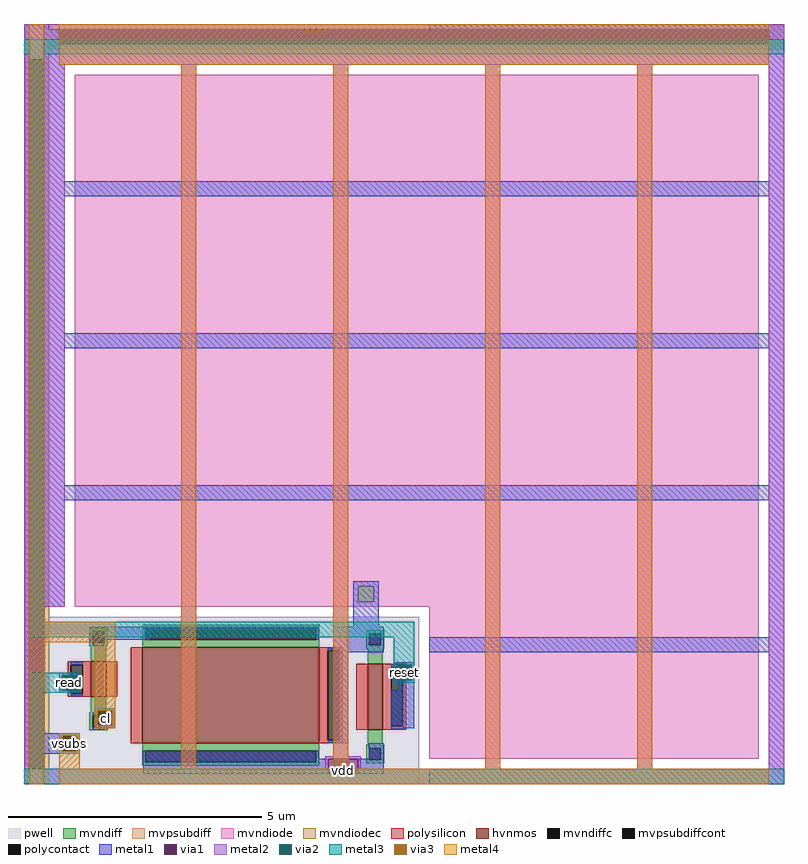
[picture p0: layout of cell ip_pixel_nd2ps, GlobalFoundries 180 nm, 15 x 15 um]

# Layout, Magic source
magic
tech gf180mcuD
magscale 1 5
<< pwell >>
rect 450 -890 1180 -670
rect 450 -910 520 -890
rect 560 -910 1180 -890
rect 450 -1000 1180 -910
<< metal1 >>
rect 400 490 450 500
rect 1200 490 1900 500
rect 400 480 950 490
rect 1000 480 1900 490
rect 400 420 1900 480
rect 400 190 480 420
rect 1870 190 1900 420
rect 400 160 1900 190
rect 400 -110 480 160
rect 1870 -110 1900 160
rect 400 -140 1900 -110
rect 400 -410 480 -140
rect 1870 -410 1900 -140
rect 400 -440 1900 -410
rect 400 -650 480 -440
rect 400 -900 440 -650
rect 1050 -690 1100 -600
rect 530 -695 980 -690
rect 530 -715 650 -695
rect 530 -720 555 -715
rect 1010 -740 1110 -690
rect 1870 -710 1900 -440
rect 1200 -740 1900 -710
rect 470 -785 510 -780
rect 470 -815 475 -785
rect 505 -815 510 -785
rect 470 -820 510 -815
rect 540 -855 580 -850
rect 540 -885 545 -855
rect 575 -885 580 -855
rect 540 -890 580 -885
rect 400 -905 510 -900
rect 400 -935 475 -905
rect 505 -935 510 -905
rect 1010 -920 1040 -740
rect 1130 -765 1170 -760
rect 1130 -795 1135 -765
rect 1165 -795 1170 -765
rect 1130 -800 1170 -795
rect 1140 -815 1170 -800
rect 1125 -890 1170 -815
rect 400 -940 510 -935
rect 400 -1000 440 -940
rect 635 -950 980 -935
rect 1080 -950 1110 -920
rect 635 -980 1000 -950
rect 1060 -980 1110 -950
rect 1870 -970 1900 -740
rect 1200 -1000 1900 -970
<< via1 >>
rect 475 -815 505 -785
rect 545 -885 575 -855
rect 475 -935 505 -905
rect 1135 -795 1165 -765
rect 1000 -980 1060 -950
<< metal2 >>
rect 400 420 1900 500
rect 400 -650 480 420
rect 400 -970 440 -650
rect 470 -785 510 -780
rect 470 -815 475 -785
rect 505 -815 510 -785
rect 470 -820 510 -815
rect 540 -855 580 -850
rect 540 -885 545 -855
rect 575 -885 580 -855
rect 540 -890 580 -885
rect 470 -905 510 -900
rect 470 -935 475 -905
rect 505 -935 510 -905
rect 470 -940 510 -935
rect 710 -970 740 420
rect 1010 -945 1040 420
rect 1130 -765 1170 -760
rect 1130 -795 1135 -765
rect 1165 -795 1170 -765
rect 1130 -800 1170 -795
rect 995 -950 1065 -945
rect 995 -970 1000 -950
rect 400 -980 1000 -970
rect 1060 -970 1065 -950
rect 1310 -970 1340 420
rect 1610 -970 1640 420
rect 1870 -970 1900 420
rect 1060 -980 1900 -970
rect 400 -1000 1900 -980
<< via2 >>
rect 475 -815 505 -785
rect 545 -885 575 -855
rect 475 -935 505 -905
rect 1135 -795 1165 -765
<< metal3 >>
rect 400 440 1900 470
rect 410 -680 440 440
rect 410 -710 1170 -680
rect 1130 -765 1170 -710
rect 410 -785 510 -780
rect 410 -815 475 -785
rect 505 -815 510 -785
rect 1130 -795 1135 -765
rect 1165 -795 1170 -765
rect 1130 -800 1170 -795
rect 410 -820 510 -815
rect 410 -970 440 -820
rect 540 -855 580 -850
rect 540 -885 545 -855
rect 575 -885 580 -855
rect 540 -890 580 -885
rect 470 -905 510 -900
rect 470 -935 475 -905
rect 505 -935 510 -905
rect 470 -940 510 -935
rect 400 -1000 1900 -970
<< via3 >>
rect 545 -885 575 -855
rect 475 -935 505 -905
<< metal4 >>
rect 410 -680 440 500
rect 470 420 1870 500
rect 410 -720 580 -680
rect 410 -1000 440 -720
rect 540 -855 580 -720
rect 540 -885 545 -855
rect 575 -885 580 -855
rect 540 -890 580 -885
rect 470 -905 510 -900
rect 470 -935 475 -905
rect 505 -935 510 -905
rect 470 -970 510 -935
rect 710 -970 740 420
rect 1010 -970 1040 420
rect 1310 -970 1340 420
rect 1610 -970 1640 420
rect 470 -1000 1870 -970
use diode_nd2ps_06v0_CUSTOM  D1
transform 1 0 1100 0 1 -100
box -700 -900 800 600
use nfet_06v0_569J58  M1
transform 0 1 1105 -1 0 -828
box -147 -65 147 65
use nfet_06v0_G9TRTN  M2
transform 0 1 820 -1 0 -825
box -155 -225 155 225
use nfet_06v0_XGQPTS  M3
transform 0 -1 535 1 0 -793
box -117 -65 117 65
<< labels >>
flabel metal3 470 -820 510 -780 0 FreeSans 160 0 0 0 read
port 7 nsew
flabel metal3 1130 -800 1170 -760 0 FreeSans 160 0 0 0 reset
port 8 nsew
flabel metal4 540 -890 580 -850 0 FreeSans 160 0 0 0 cl
port 6 nsew
flabel metal4 470 -940 510 -900 0 FreeSans 160 0 0 0 vsubs
port 9 nsew
flabel metal2 995 -1000 1065 -945 0 FreeSans 160 0 0 0 vdd
port 10 nsew
<< end >>

# cell diode_nd2ps_06v0_CUSTOM: kit device diode_nd2ps_06v0, w 13.5 l 13.5 area 161.25 peri 54.0 nx 1 ny 1 dummy 0 lmin 0.45 wmin 0.45 class diode elc 1 erc 1 etc 1 ebc 0 doverlap 0 full_metal 0 compatible {diode_nd2ps_03v3 diode_nd2ps_06v0}

# cell nfet_06v0_569J58: kit device nfet_06v0, w 0.3 l 1.3 m 1 nf 1 diffcov 100 polycov 100 guard 0 glc 0 grc 0 gtc 0 gbc 0 tbcov 100 rlcov 100 topc 1 botc 0 poverlap 0 doverlap 1 lmin 0.7 wmin 0.3 class mosfet full_metal 0 compatible {nfet_03v3 nfet_05v0 nfet_06v0 nfet_06v0_nvt}

# cell nfet_06v0_G9TRTN: kit device nfet_06v0, w 3.5 l 1.9 m 1 nf 1 diffcov 100 polycov 100 guard 0 glc 0 grc 0 gtc 0 gbc 0 tbcov 100 rlcov 100 topc 1 botc 0 poverlap 0 doverlap 1 lmin 0.7 wmin 0.3 class mosfet full_metal 0 compatible {nfet_03v3 nfet_05v0 nfet_06v0 nfet_06v0_nvt}

# cell nfet_06v0_XGQPTS: kit device nfet_06v0, w 0.3 l 0.7 m 1 nf 1 diffcov 100 polycov 100 guard 0 glc 0 grc 0 gtc 0 gbc 0 tbcov 100 rlcov 100 topc 1 botc 0 poverlap 0 doverlap 1 lmin 0.7 wmin 0.3 class mosfet full_metal 0 compatible {nfet_03v3 nfet_05v0 nfet_06v0 nfet_06v0_nvt}
